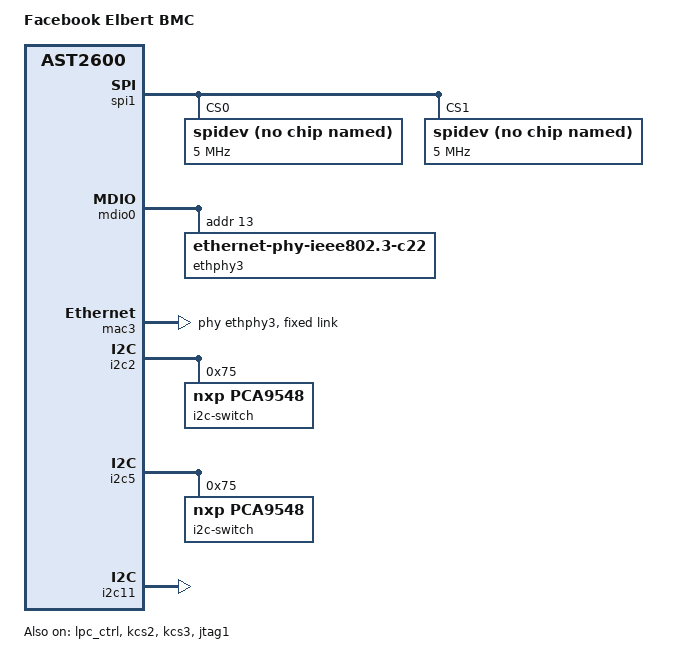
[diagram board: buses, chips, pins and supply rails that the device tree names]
// SPDX-License-Identifier: GPL-2.0+
// Copyright (c) 2020 Facebook Inc.

/dts-v1/;

#include "ast2600-facebook-netbmc-common.dtsi"

/ {
	model = "Facebook Elbert BMC";
	compatible = "facebook,elbert-bmc", "aspeed,ast2600";

	aliases {
		serial0 = &uart5;
		serial1 = &uart1;
		serial2 = &uart2;
		serial3 = &uart3;
	};

	chosen {
		stdout-path = &uart5;
	};

	spi_gpio: spi-gpio {
		num-chipselects = <1>;
		cs-gpios = <&gpio0 ASPEED_GPIO(X, 0) GPIO_ACTIVE_LOW>;
	};
};

&spi1 {
	status = "okay";
	compatible = "aspeed,ast2600-spi-master";

	/* GPIOV0 controls another mux beyond this Chip select on SCM2 */
	spidev@0 {
		compatible = "rohm,dh2228fv";
		spi-max-frequency = <5000000>;
		reg = <0>;
	};

	spidev@1 {
		compatible = "rohm,dh2228fv";
		spi-max-frequency = <5000000>;
		reg = <1>;
	};
};

&lpc_ctrl {
	status = "okay";
};

&kcs2 {
	status = "okay";
	kcs_addr = <0xca8>;
};

&kcs3 {
	status = "okay";
	kcs_addr = <0xca2>;
};

&mdio0 {
	ethphy3: ethernet-phy@13 {
		compatible = "ethernet-phy-ieee802.3-c22";
		reg = <0x0d>;
	};
};

&mac3 {
	phy-handle = <&ethphy3>;

	fixed-link {
		speed = <1000>;
		full-duplex;
	};
};

&syscon {
	mac3-clk-delay = <0x09 0x04 0x09 0x04 0x09 0x04>;
};

&i2c2 {
	i2c-switch@75 {
		compatible = "nxp,pca9548";
		#address-cells = <1>;
		#size-cells = <0>;
		reg = <0x75>;
	};
};

&i2c5 {
	i2c-switch@75 {
		compatible = "nxp,pca9548";
		#address-cells = <1>;
		#size-cells = <0>;
		reg = <0x75>;
	};
};

&i2c11 {
	status = "okay";
};

&jtag1 {
	/*
	 * JTAG programming is done via bit-banging rather than through
	 * the driver, so prevent the driver from controlling GPIOs.
	 */
	status = "okay";
	pinctrl-0 = <>;
};
